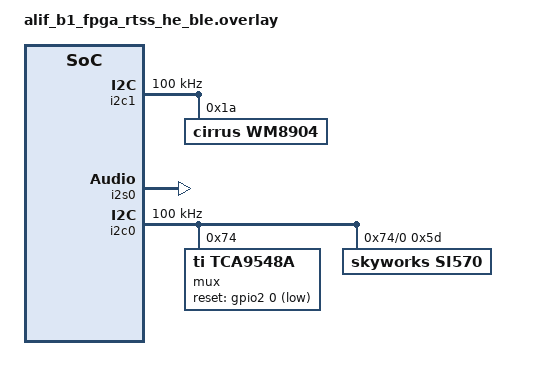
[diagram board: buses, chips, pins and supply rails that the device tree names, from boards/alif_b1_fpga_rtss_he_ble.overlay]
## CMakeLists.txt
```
# Copyright (C) 2025 Alif Semiconductor - All Rights Reserved.
# Use, distribution and modification of this code is permitted under the
# terms stated in the Alif Semiconductor Software License Agreement
#
# You should have received a copy of the Alif Semiconductor Software
# License Agreement with this file. If not, please write to:
# contact@alifsemi.com, or visit: https://alifsemi.com/license

cmake_minimum_required(VERSION 3.20.0)
find_package(Zephyr REQUIRED HINTS $ENV{ZEPHYR_BASE})
project(le_audio_unicast_sink)

target_sources(app PRIVATE
    src/main.c
    src/unicast_sink.c
    src/audio_datapath.c
    src/storage.c
)
```

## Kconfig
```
# Copyright (C) 2025 Alif Semiconductor - All Rights Reserved.
# Use, distribution and modification of this code is permitted under the
# terms stated in the Alif Semiconductor Software License Agreement
#
# You should have received a copy of the Alif Semiconductor Software
# License Agreement with this file. If not, please write to:
# contact@alifsemi.com, or visit: https://alifsemi.com/license

menu "Alif Bluetooth LE Audio Unicast Sink"

config BLE_DEVICE_NAME
	string "BLE device name"
	default "ALIF_CIS_SINK_L" if UNICAST_LOCATION_LEFT
	default "ALIF_CIS_SINK_R" if UNICAST_LOCATION_RIGHT
	default "ALIF_CIS_SINK" if UNICAST_LOCATION_BOTH
	help
	  Device name to be included in advertising packets

config MAXIMUM_PRESENTATION_DELAY_US
	int "Maximum available presentation delay in microseconds"
	range 40000 100000
	default 40000
	help
	  Maximum presentation delay must be at least 40ms.
	  There is no actual maximum value but 100ms is
	  used to set something which is long enough.
	  See LE Audio specification for more information.

config MINIMUM_PRESENTATION_DELAY_US
	int "Minimum available presentation delay in microseconds"
	range 1000 20000
	default 7500
	help
	  Minimum presentation delay to compensate for
	  the audio processing delay.

config USE_DIRECT_ADVERTISING_WHEN_RESTART
	bool "Use direct advertising when connection is lost or peer is bonded"
	default y

config USE_DIRECTED_FAST_ADVERTISING
	bool "Directed high duty cycle advertising"
	default n
	help
	  Use directed high duty cycle advertising when
	  connection is lost or peer is bonded

config BONDING_ALLOWED
	bool "Allow bonding"
	default y

config PRIVACY_ENABLED
	bool "Enable Privacy to use Random Private Resolvable Address"
	default n

choice
	prompt "Choose streaming type"
	default UNICAST_UNIDIR

	config UNICAST_BIDIR
	bool "Bidirectional"
	config UNICAST_UNIDIR
	bool "Unidirectional"
endchoice

choice
	prompt "Choose location"
	default UNICAST_LOCATION_BOTH if UNICAST_UNIDIR
	default UNICAST_LOCATION_LEFT if UNICAST_BIDIR

	config UNICAST_LOCATION_LEFT
	bool "Left"
	config UNICAST_LOCATION_RIGHT
	bool "Right"
	config UNICAST_LOCATION_BOTH
	bool "Both"
endchoice

config VOLUME_CTRL_STEP_SIZE
	int "Volume control step size"
	range 1 255
	default 6
	help
	  Volume control step size

menu "Logging"

module = MAIN
module-str = main
source "subsys/logging/Kconfig.template.log_config"

module = UNICAST_SINK
module-str = unicast_sink
source "subsys/logging/Kconfig.template.log_config"

module = STORAGE
module-str = storage
source "subsys/logging/Kconfig.template.log_config"

endmenu # "Logging"

endmenu # "Alif Bluetooth LE Audio Unicast Sink"

source "Kconfig.zephyr"
```

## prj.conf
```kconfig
# Copyright (C) 2025 Alif Semiconductor - All Rights Reserved.
# Use, distribution and modification of this code is permitted under the
# terms stated in the Alif Semiconductor Software License Agreement
#
# You should have received a copy of the Alif Semiconductor Software
# License Agreement with this file. If not, please write to:
# contact@alifsemi.com, or visit: https://alifsemi.com/license

CONFIG_BT=y
CONFIG_BT_CUSTOM=y
CONFIG_ALIF_ROM_LC3_CODEC=y
CONFIG_ALIF_BLE_AUDIO=y

CONFIG_LOG=y
# CONFIG_LOG_MODE_IMMEDIATE=y
CONFIG_ASSERT=y

CONFIG_PRESENTATION_COMPENSATION_DIRECTION_SINK=y
CONFIG_PRESENTATION_COMPENSATION_CORRECTION_FACTOR=2
CONFIG_MINIMUM_PRESENTATION_DELAY_US=1000

# Should be replaced by TRNG when support is available
CONFIG_ENTROPY_GENERATOR=y
CONFIG_TEST_RANDOM_GENERATOR=y

# malloc support is required, simplest way is using newlib although it would also be possible to
# configure heap for picolibc
CONFIG_NEWLIB_LIBC=y

# Driver support for audio
CONFIG_I2S=y
CONFIG_DMA=y

# Audio driver support specific to B1 DK board.
# Audio codec is WM8904, connected via I2C.
CONFIG_I2C=y
CONFIG_WM8904=y
CONFIG_AUDIO=y
CONFIG_AUDIO_CODEC=y
CONFIG_I2C_INIT_PRIORITY=50
CONFIG_WM8904_INIT_PRIORITY=53

# This is specific to whichever clock you use. Currently presentation layer is
# commented out so this does nothing
CONFIG_AUDIO_CLOCK_DIVIDER=1

# Debug
CONFIG_USE_SEGGER_RTT=y
CONFIG_RTT_CONSOLE=y

CONFIG_MAIN_STACK_SIZE=4096
CONFIG_ISR_STACK_SIZE=4096
CONFIG_PRIVILEGED_STACK_SIZE=2048
CONFIG_IDLE_STACK_SIZE=1024
CONFIG_BOOT_BANNER=n
CONFIG_ALIF_BLE_HOST_ADDL_PRF_HEAPSIZE=10240
CONFIG_ALIF_BLE_HOST_ADDL_ENV_HEAPSIZE=8192

# Enable NVS as the backend for Settings
CONFIG_NVS=y
# Enable the Settings subsystem
CONFIG_SETTINGS=y
CONFIG_SETTINGS_NVS=y
CONFIG_SETTINGS_RUNTIME=y
CONFIG_MPU_ALLOW_FLASH_WRITE=y
CONFIG_FLASH=y
CONFIG_FLASH_MAP=y

# For MRAM(XIP) builds with LLVM exception tables cause linker errors as part of the code is placed to TCM
CONFIG_EXCEPTIONS=n
```

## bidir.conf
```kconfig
# Copyright (C) 2025 Alif Semiconductor - All Rights Reserved.
# Use, distribution and modification of this code is permitted under the
# terms stated in the Alif Semiconductor Software License Agreement
#
# You should have received a copy of the Alif Semiconductor Software
# License Agreement with this file. If not, please write to:
# contact@alifsemi.com, or visit: https://alifsemi.com/license

CONFIG_UNICAST_BIDIR=y
```

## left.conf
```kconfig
# Copyright (C) 2025 Alif Semiconductor - All Rights Reserved.
# Use, distribution and modification of this code is permitted under the
# terms stated in the Alif Semiconductor Software License Agreement
#
# You should have received a copy of the Alif Semiconductor Software
# License Agreement with this file. If not, please write to:
# contact@alifsemi.com, or visit: https://alifsemi.com/license

CONFIG_UNICAST_BIDIR=y
CONFIG_UNICAST_LOCATION_LEFT=y
```

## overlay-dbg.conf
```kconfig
# Copyright (C) 2025 Alif Semiconductor - All Rights Reserved.
# Use, distribution and modification of this code is permitted under the
# terms stated in the Alif Semiconductor Software License Agreement
#
# You should have received a copy of the Alif Semiconductor Software
# License Agreement with this file. If not, please write to:
# contact@alifsemi.com, or visit: https://alifsemi.com/license

# CONFIG_LOG_MODE_IMMEDIATE=y

# ===============================================
# threads debug
CONFIG_THREAD_NAME=y
CONFIG_THREAD_ANALYZER=y
CONFIG_THREAD_ANALYZER_USE_PRINTK=y
CONFIG_THREAD_ANALYZER_AUTO=y
CONFIG_THREAD_ANALYZER_AUTO_INTERVAL=5

# ===============================================
# Adjust logging levels
CONFIG_MAIN_LOG_LEVEL_DBG=y
CONFIG_UNICAST_SINK_LOG_LEVEL_DBG=y
CONFIG_BLE_AUDIO_LOG_LEVEL_DBG=y
CONFIG_PRESENTATION_COMPENSATION_PRINT_STATS=y
```

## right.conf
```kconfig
# Copyright (C) 2025 Alif Semiconductor - All Rights Reserved.
# Use, distribution and modification of this code is permitted under the
# terms stated in the Alif Semiconductor Software License Agreement
#
# You should have received a copy of the Alif Semiconductor Software
# License Agreement with this file. If not, please write to:
# contact@alifsemi.com, or visit: https://alifsemi.com/license

CONFIG_UNICAST_BIDIR=y
CONFIG_UNICAST_LOCATION_RIGHT=y
```

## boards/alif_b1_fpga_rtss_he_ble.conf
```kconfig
# Copyright (C) 2023 Alif Semiconductor - All Rights Reserved.
# Use, distribution and modification of this code is permitted under the
# terms stated in the Alif Semiconductor Software License Agreement
#
# You should have received a copy of the Alif Semiconductor Software
# License Agreement with this file. If not, please write to:
# contact@alifsemi.com, or visit: https://alifsemi.com/license

# Audio clock is provided by SI570, connected via I2C using TCA9548 I2C mux.
CONFIG_SI570=y

CONFIG_I2C_TCA954X_ROOT_INIT_PRIO=51
CONFIG_I2C_TCA954X_CHANNEL_INIT_PRIO=52

# SI570 clock output is passed through a fixed /8 divider to create MCLK signal
CONFIG_AUDIO_CLOCK_DIVIDER=8
```

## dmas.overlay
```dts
/* Copyright (C) 2025 Alif Semiconductor - All Rights Reserved.
 * Use, distribution and modification of this code is permitted under the
 * terms stated in the Alif Semiconductor Software License Agreement
 *
 * You should have received a copy of the Alif Semiconductor Software
 * License Agreement with this file. If not, please write to:
 * contact@alifsemi.com, or visit: https://alifsemi.com/license
 *
 */

#define HCI_UART_DMA_RX_CH  0
#define HCI_UART_DMA_RX_REQ 26
#define HCI_UART_DMA_TX_CH  1
#define HCI_UART_DMA_TX_REQ 27

#define I2S0_DMA_RX_CH  2
#define I2S0_DMA_RX_REQ 24
#define I2S0_DMA_TX_CH  3
#define I2S0_DMA_TX_REQ 28

#define LPI2S_DMA_RX_CH  4
#define LPI2S_DMA_RX_REQ 14
#define LPI2S_DMA_TX_CH  5
#define LPI2S_DMA_TX_REQ 15

&dma2 {
	dma-channels = <8>;
	interrupts = <0 3>, <1 3>, <2 3>, <3 3>, <4 3>, <5 3>,
		     <6 3>, <7 3>, <32 3>;
	interrupt-names = "channel0", "channel1",
			  "channel2", "channel3",
			  "channel4", "channel5",
			  "channel6", "channel7",
			  "abort";

};

&i2s0 {
	dmas = <&dma2 I2S0_DMA_RX_CH I2S0_DMA_RX_REQ>,
	       <&dma2 I2S0_DMA_TX_CH I2S0_DMA_TX_REQ>;
	dma-names = "rxdma", "txdma";
};

&i2s2 {
	dmas = <&dma2 LPI2S_DMA_RX_CH LPI2S_DMA_RX_REQ>,
	       <&dma2 LPI2S_DMA_TX_CH LPI2S_DMA_TX_REQ>;
	dma-names = "rxdma", "txdma";
};

&uart_hci {
	dmas = <&dma2 HCI_UART_DMA_RX_CH HCI_UART_DMA_RX_REQ>,
	       <&dma2 HCI_UART_DMA_TX_CH HCI_UART_DMA_TX_REQ>;
	dma-names = "rx", "tx";
};
```

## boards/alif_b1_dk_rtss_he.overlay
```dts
/* Copyright (C) 2025 Alif Semiconductor - All Rights Reserved.
 * Use, distribution and modification of this code is permitted under the
 * terms stated in the Alif Semiconductor Software License Agreement
 *
 * You should have received a copy of the Alif Semiconductor Software
 * License Agreement with this file. If not, please write to:
 * contact@alifsemi.com, or visit: https://alifsemi.com/license
 *
 */

#include <dt-bindings/pinctrl/balletto-pinctrl.h>
#include <dt-bindings/i2c/i2c.h>
#include <dt-bindings/gpio/gpio.h>

#define I2S0_IRQ_NUM  141
#define I2S0_IRQ_PRIO 3

#define LPI2S_IRQ_NUM  48
#define LPI2S_IRQ_PRIO 3

/ {
	aliases {
		/delete-property/ sw0;

		audio-codec = &wm8904;
		i2s-bus = &i2s0;
		i2s-mic = &i2s2;
	};

	/delete-node/ buttons;
};

&dma2 {
	status = "okay";
};

&i2c1 {
	clock-frequency = <I2C_BITRATE_STANDARD>;
	status = "okay";

	wm8904: wm8904@1a {
		compatible = "cirrus,wm8904";
		reg = <0x1a>;
		status = "okay";
	};
};

/* Sink (output) to WM8904 codec IC */
&i2s0 {
	/delete-property/ clock-frequency;
	/delete-property/ driver_instance;
	compatible = "alif,i2s-sync";
	interrupts = <I2S0_IRQ_NUM I2S0_IRQ_PRIO>;
	bit-depth = <16>;
	sample-rate = <48000>;
	status = "okay";
};

/* Source (input) use onboard I2S microphones (T5848) */
&i2s2 {
	/delete-property/ clock-frequency;
	/delete-property/ driver_instance;
	compatible = "alif,i2s-sync";
	interrupts = <LPI2S_IRQ_NUM LPI2S_IRQ_PRIO>;
	bit-depth = <16>;
	sample-rate = <48000>;
	status = "okay";
};

&pinctrl_i2c1 {
	group0 {
		pinmux = <PIN_P7_2__I2C1_SDA_C>,
			 <PIN_P7_3__I2C1_SCL_C>;
	};
};

&pinctrl_i2s0 {
	group0 {
		pinmux = <PIN_P2_4__I2S0_SDI_B>,
			 <PIN_P2_5__I2S0_SDO_B>,
			 <PIN_P1_7__I2S0_WS_A>,
			 <PIN_P1_6__I2S0_SCLK_A>;
	};
};

/* Disable unnecessary nodes */
&uart_ahi {
	status = "disabled";
};

&i2s1 {
	status = "disabled";
};
```

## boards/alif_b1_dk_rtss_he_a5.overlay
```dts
/* Copyright Alif Semiconductor - All Rights Reserved.
 * Use, distribution and modification of this code is permitted under the
 * terms stated in the Alif Semiconductor Software License Agreement
 *
 * You should have received a copy of the Alif Semiconductor Software
 * License Agreement with this file. If not, please write to:
 * contact@alifsemi.com, or visit: https://alifsemi.com/license
 *
 */

#include <dt-bindings/pinctrl/balletto-pinctrl.h>
#include <dt-bindings/i2c/i2c.h>
#include <dt-bindings/gpio/gpio.h>

#define I2S0_IRQ_NUM  141
#define I2S0_IRQ_PRIO 3

#define LPI2S_IRQ_NUM  48
#define LPI2S_IRQ_PRIO 3

/ {
	aliases {
		/delete-property/ sw0;

		audio-codec = &wm8904;
		i2s-bus = &i2s0;
		/*i2s-mic = &i2s2;*/
	};

	/delete-node/ buttons;
};

&dma2 {
	status = "okay";
};

&i2c1 {
	clock-frequency = <I2C_BITRATE_STANDARD>;
	status = "okay";

	wm8904: wm8904@1a {
		compatible = "cirrus,wm8904";
		reg = <0x1a>;
		status = "okay";
	};
};

/* Sink (output) to WM8904 codec IC */
&i2s0 {
	/delete-property/ clock-frequency;
	/delete-property/ driver_instance;
	compatible = "alif,i2s-sync";
	interrupts = <I2S0_IRQ_NUM I2S0_IRQ_PRIO>;
	bit-depth = <16>;
	sample-rate = <48000>;
	status = "okay";
};

/* Source (input) use onboard I2S microphones (T5848)
 *
 * Balletto A5 DevKit does not have I2S mics anymore.
 * TODO: Need to be replaced by the PDM mics.
 */

&pinctrl_i2c1 {
	group0 {
		pinmux = <PIN_P7_2__I2C1_SDA_C>,
			 <PIN_P7_3__I2C1_SCL_C>;
	};
};

&pinctrl_i2s0 {
	group0 {
		pinmux = <PIN_P2_4__I2S0_SDI_B>,
			 <PIN_P2_5__I2S0_SDO_B>,
			 <PIN_P1_7__I2S0_WS_A>,
			 <PIN_P1_6__I2S0_SCLK_A>;
	};
};

/* Disable unnecessary nodes */
&uart_ahi {
	status = "disabled";
};

&i2s1 {
	status = "disabled";
};
```

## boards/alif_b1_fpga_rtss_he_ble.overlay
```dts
/* Copyright (C) 2023 Alif Semiconductor - All Rights Reserved.
 * Use, distribution and modification of this code is permitted under the
 * terms stated in the Alif Semiconductor Software License Agreement
 *
 * You should have received a copy of the Alif Semiconductor Software
 * License Agreement with this file. If not, please write to:
 * contact@alifsemi.com, or visit: https: //alifsemi.com/license
 *
 */

#include <dt-bindings/pinctrl/balletto-pinctrl.h>
#include <dt-bindings/i2c/i2c.h>
#include <dt-bindings/gpio/gpio.h>

/ {
	aliases {
		audio-codec = &wm8904;
		i2s-bus = &i2s0;
		mclk-gen = &si570;
	};

	soc {
		i2c1: i2c1@49011000 {
			compatible = "snps,designware-i2c";
			clock-frequency = <I2C_BITRATE_STANDARD>;
			#address-cells = <1>;
			#size-cells = <0>;
			reg = <0x49011000 0x1000>;
			pinctrl-0 = <&pinctrl_i2c1>;
			pinctrl-names = "default";
			interrupt-parent = <&nvic>;
			interrupts = <133 3>;
			status = "okay";

			wm8904: wm8904@1a {
				compatible = "cirrus,wm8904";
				reg = <0x1a>;
				status = "okay";
			};
		};

		i2s0: i2s0@49014000 {
			compatible = "alif,i2s-sync";
			reg = <0x49014000 0x1000>;
			pinctrl-names = "default";
			pinctrl-0 = <&pinctrl_i2s0>;
			interrupts = <141 3>;
			bit-depth = <16>;
			sample-rate = <48000>;
			mono-mode;
			status = "okay";
		};

		i2c0: i2c0@49010000 {
			compatible = "snps,designware-i2c";
			clock-frequency = <I2C_BITRATE_STANDARD>;
			#address-cells = <1>;
			#size-cells = <0>;
			reg = <0x49010000 0x1000>;
			pinctrl-0 = <&pinctrl_i2c0>;
			pinctrl-names = "default";
			interrupt-parent = <&nvic>;
			interrupts = <132 3>;
			status = "okay";

			mux: tca9548a@74 {
				compatible = "ti,tca9548a";
				reg = <0x74>;
				status = "okay";
				#address-cells = <1>;
				#size-cells = <0>;
				reset-gpios = <&gpio2 0 GPIO_ACTIVE_LOW>;

				ch0: mux_i2c@0 {
					compatible = "ti,tca9548a-channel";
					reg = <0>;
					status = "okay";
					#address-cells = <1>;
					#size-cells = <0>;

					si570: si570@5d {
						compatible = "skyworks,si570";
						reg = <0x5d>;
						factory-fout = <156250000>;
						initial-freq = <12288000>;
					};
				};
			};
		};
	};
};

&pinctrl {
	pinctrl_i2c1: pinctrl_i2c1 {
		group0 {
			/* Note: defined pinmux names are wrong so just setting numbers directly */
			pinmux = <PINMUX_PIN(PIN_P2_6, 3)>, /* I2C1 SCL */
				<PINMUX_PIN(PIN_P2_7, 3)>; /* I2C1 SDA */
			read_enable = <0x1>;
		};
	};

	pinctrl_i2s0: pinctrl_i2s0 {
		group0 {
			/* Note: defined pinmux names are wrong so just setting numbers directly */
			pinmux = <PINMUX_PIN(PIN_P1_4, 2)>, /* I2S0 SDI A  */
				<PINMUX_PIN(PIN_P1_5, 2)>, /* I2S0 SDO A  */
				<PINMUX_PIN(PIN_P1_7, 3)>, /* I2S0 WS A   */
				<PINMUX_PIN(PIN_P1_6, 3)>; /* I2S0 SCLK A */
		};
	};

	pinctrl_i2c0: pinctrl_i2c0 {
		group0 {
			pinmux = <PIN_P2_4__I2C0_SCL_B>,
				<PIN_P2_5__I2C0_SDA_B>;
			read_enable = <0x1>;
		};
	};
};
```

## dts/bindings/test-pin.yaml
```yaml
# Copyright (c) 2023 Libre Solar Technologies GmbH
# SPDX-License-Identifier: Apache-2.0

description: GPIO pin to switch a power output on or off

compatible: "test-pin"

properties:
  gpios:
    type: phandle-array
    required: true
    description: |
      The GPIO connected to the gate driver for the MOSFET.
```

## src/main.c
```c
/* Copyright (C) 2025 Alif Semiconductor - All Rights Reserved.
 * Use, distribution and modification of this code is permitted under the
 * terms stated in the Alif Semiconductor Software License Agreement
 *
 * You should have received a copy of the Alif Semiconductor Software
 * License Agreement with this file. If not, please write to:
 * contact@alifsemi.com, or visit: https://alifsemi.com/license
 */
#include <stdio.h>
#include <zephyr/kernel.h>
#include <zephyr/logging/log.h>
#include <zephyr/settings/settings.h>
#include <zephyr/sys/__assert.h>
#include "alif_ble.h"
#include "gapm.h"
#include "gapm_le.h"
#include "gapc.h"
#include "gapc_le.h"
#include "gapc_sec.h"
#include "unicast_sink.h"
#include "storage.h"

#define APPEARANCE_EARBUDS 0x0941
#define APPEARANCE_HEADSET 0x0942

#if CONFIG_UNICAST_BIDIR
#define APPEARANCE APPEARANCE_HEADSET
#else
#define APPEARANCE APPEARANCE_EARBUDS
#endif

#if CONFIG_UNICAST_LOCATION_BOTH
#define IRK_VAL 0x8B
#elif CONFIG_UNICAST_LOCATION_LEFT
#define IRK_VAL 0x8A
#elif CONFIG_UNICAST_LOCATION_RIGHT
#define IRK_VAL 0x89
#else
#define IRK_VAL 0x88
#endif

LOG_MODULE_REGISTER(main, CONFIG_MAIN_LOG_LEVEL);

K_SEM_DEFINE(gapm_init_sem, 0, 1);

struct connection_status {
#if CONFIG_USE_DIRECT_ADVERTISING_WHEN_RESTART
	gap_bdaddr_t addr; /*!< Peer device address */
#endif
	uint8_t conidx; /*!< connection index */
};

static struct connection_status app_con_info = {
	.conidx = GAP_INVALID_CONIDX,
#if CONFIG_USE_DIRECT_ADVERTISING_WHEN_RESTART
	.addr.addr_type = 0xff,
#endif
};

#if CONFIG_USE_DIRECT_ADVERTISING_WHEN_RESTART
#define APP_CON_ADDR &app_con_info.addr
#else
#define APP_CON_ADDR NULL
#endif

struct app_con_bond_data {
	gapc_pairing_keys_t keys;
	gapc_bond_data_t bond_data;
};

static struct app_con_bond_data app_con_bond_data;

/* Load names from configuration file */
const char device_name[] = CONFIG_BLE_DEVICE_NAME;

static const gap_sec_key_t gapm_irk = {.key = {0xA1, 0xB2, 0xC3, 0xD4, 0xE5, 0xF6, 0x07, 0x08, 0x11,
					       0x22, 0x33, 0x44, 0x55, 0x66, 0x77, IRK_VAL}};

/* ---------------------------------------------------------------------------------------- */
/* Settings NVM storage handlers */

static int storage_load_bond_data(void)
{
	if (storage_init() < 0) {
		return -1;
	}

	storage_load(SETTINGS_NAME_KEYS, &app_con_bond_data.keys, sizeof(app_con_bond_data.keys));
	storage_load(SETTINGS_NAME_BOND_DATA, &app_con_bond_data.bond_data,
		     sizeof(app_con_bond_data.bond_data));
#if CONFIG_USE_DIRECT_ADVERTISING_WHEN_RESTART
	storage_load(SETTINGS_NAME_PEER, &app_con_info.addr, sizeof(app_con_info.addr));
#endif

	LOG_DBG("Settings loaded successfully");
	return 0;
}

/* ---------------------------------------------------------------------------------------- */
/* Bluetooth GAPM callbacks */

static void on_get_peer_version_cmp_cb(uint8_t const conidx, uint32_t const metainfo,
				       uint16_t const status, const gapc_version_t *const p_version)
{
	if (status != GAP_ERR_NO_ERROR) {
		LOG_ERR("Client %u Peer version fetch failed! err:%u", conidx, status);
		return;
	}
	LOG_INF("Client %u company_id:%u, lmp_subversion:%u, lmp_version:%u", conidx,
		p_version->company_id, p_version->lmp_subversion, p_version->lmp_version);
}

static void on_peer_features_cmp_cb(uint8_t const conidx, uint32_t const metainfo, uint16_t status,
				    const uint8_t *const p_features)
{
	if (status == GAP_ERR_NO_ERROR) {
		LOG_INF("Client %u features: %02X:%02X:%02X:%02X:%02X:%02X:%02X:%02X", conidx,
			p_features[0], p_features[1], p_features[2], p_features[3], p_features[4],
			p_features[5], p_features[6], p_features[7]);
	} else {
		LOG_ERR("Client %u get peer features failed! status:%u", conidx, status);
	}

	status = gapc_get_peer_version(conidx, 0, on_get_peer_version_cmp_cb);
	if (status != GAP_ERR_NO_ERROR) {
		LOG_ERR("Client %u unable to get peer version! err:%u", conidx, status);
	}
}

static void connection_confirm_not_bonded(uint_fast8_t const conidx,
					  gapc_bond_data_t const *const p_bond_data)
{
	uint_fast16_t status;

	status = gapc_le_connection_cfm(conidx, 0, p_bond_data);
	if (status != GAP_ERR_NO_ERROR) {
		LOG_ERR("Client %u connection confirmation failed! err:%u", conidx, status);
	}
	status = gapc_le_get_peer_features(conidx, 0, on_peer_features_cmp_cb);
	if (status != GAP_ERR_NO_ERROR) {
		LOG_ERR("Client %u Unable to get peer features! err:%u", conidx, status);
	}
}

static void on_address_resolved_cb(uint16_t status, const gap_addr_t *const p_addr,
				   const gap_sec_key_t *const pirk)
{
	uint_fast8_t const conidx = app_con_info.conidx;
	/* Check whether the peer device is bonded */
	bool const resolved = (status == GAP_ERR_NO_ERROR);

	LOG_INF("Client %u address resolve ready! status:%u, %s peer device", conidx, status,
		resolved ? "KNOWN" : "UNKNOWN");

#if CONFIG_USE_DIRECT_ADVERTISING_WHEN_RESTART
	app_con_info.addr.addr_type = GAP_ADDR_RAND;
	memcpy(app_con_info.addr.addr, p_addr->addr, sizeof(app_con_info.addr.addr));
#endif

	if (resolved) {
		gapc_le_connection_cfm(conidx, 0, &app_con_bond_data.bond_data);
		return;
	}
	connection_confirm_not_bonded(conidx, NULL);
}

static void on_le_connection_req(uint8_t const conidx, uint32_t const metainfo,
				 uint8_t const actv_idx, uint8_t const role,
				 const gap_bdaddr_t *const p_peer_addr,
				 const gapc_le_con_param_t *const p_con_params,
				 uint8_t const clk_accuracy)
{
	bool const public = (p_peer_addr->addr_type == GAP_ADDR_PUBLIC);

	app_con_info.conidx = conidx;
#if CONFIG_USE_DIRECT_ADVERTISING_WHEN_RESTART
	memcpy(&app_con_info.addr, p_peer_addr, sizeof(app_con_info.addr));
#endif

	if (!public) {
		/* Number of IRKs */
		uint8_t const nb_irk = 1;
		/* Resolve Address */
		uint16_t const status = gapm_le_resolve_address(
			(gap_addr_t *)p_peer_addr->addr, nb_irk, &app_con_bond_data.keys.irk.key,
			on_address_resolved_cb);

		if (status == GAP_ERR_INVALID_PARAM) {
			/* Address not resolvable, just confirm the connection */
			connection_confirm_not_bonded(conidx, NULL);
		} else if (status != GAP_ERR_NO_ERROR) {
			LOG_ERR("Client %u Unable to start resolve address! err:%u", conidx,
				status);
		}
	} else {
		gapc_le_connection_cfm(conidx, 0, &app_con_bond_data.bond_data);
	}

	LOG_INF("Connection request. conidx:%u (actv_idx:%u), role %s", conidx, actv_idx,
		role ? "PERIPH" : "CENTRAL");

	LOG_DBG("  interval %fms, latency %u, supervision timeout %ums, clk_accuracy:%u",
		(p_con_params->interval * 1.25), p_con_params->latency,
		(uint32_t)p_con_params->sup_to * 10, clk_accuracy);

	LOG_DBG("  Peer address: %s %02X:%02X:%02X:%02X:%02X:%02X", public ? "Public" : "Private",
		p_peer_addr->addr[5], p_peer_addr->addr[4], p_peer_addr->addr[3],
		p_peer_addr->addr[2], p_peer_addr->addr[1], p_peer_addr->addr[0]);
}

static const struct gapc_connection_req_cb gapc_con_cbs = {
	.le_connection_req = on_le_connection_req,
};

static void on_gapc_le_encrypt_req(uint8_t const conidx, uint32_t const metainfo,
				   uint16_t const ediv, const gap_le_random_nb_t *const p_rand)
{
	uint16_t const status = gapc_le_encrypt_req_reply(
		conidx, true, &app_con_bond_data.keys.ltk.key, app_con_bond_data.keys.ltk.key_size);

	if (status != GAP_ERR_NO_ERROR) {
		LOG_ERR("Client %u LE encryption reply failed! err:%u", conidx, status);
		return;
	}
}

static void on_gapc_sec_auth_info(uint8_t const conidx, uint32_t const metainfo,
				  uint8_t const sec_lvl, bool const encrypted,
				  uint8_t const key_size)
{
	LOG_INF("Client %u Link security info. level:%u, encrypted:%s, key_size:%u", conidx,
		sec_lvl, (encrypted ? "TRUE" : "FALSE"), key_size);
}

static void on_gapc_pairing_succeed(uint8_t const conidx, uint32_t const metainfo,
				    uint8_t const pairing_level, bool const enc_key_present,
				    uint8_t const key_type)
{
	bool const bonded = gapc_is_bonded(conidx);

	LOG_INF("Client %u pairing SUCCEED. pairing_level:%u, bonded:%s", conidx, pairing_level,
		bonded ? "TRUE" : "FALSE");

	app_con_bond_data.bond_data.pairing_lvl = pairing_level;
	app_con_bond_data.bond_data.enc_key_present = enc_key_present;

	storage_save(SETTINGS_NAME_BOND_DATA, &app_con_bond_data.bond_data,
		     sizeof(app_con_bond_data.bond_data));
#if CONFIG_USE_DIRECT_ADVERTISING_WHEN_RESTART
	storage_save(SETTINGS_NAME_PEER, &app_con_info.addr, sizeof(app_con_info.addr));
#endif
}

static void on_gapc_pairing_failed(uint8_t const conidx, uint32_t const metainfo,
				   uint16_t const reason)
{
	LOG_ERR("Client %u pairing failed, reason: 0x%04X", conidx, reason);
	app_con_info.conidx = GAP_INVALID_CONIDX;
}

static void on_gapc_info_req(uint8_t const conidx, uint32_t const metainfo, uint8_t const exp_info)
{
	uint16_t err;

	switch (exp_info) {
	case GAPC_INFO_IRK: {
		/* IRK exchange if bonding enabled */
		err = gapc_le_pairing_provide_irk(conidx, &gapm_irk);
		if (err) {
			LOG_ERR("Client %u IRK provide failed. err: %u", conidx, err);
			break;
		}
		LOG_INF("Client %u IRK sent successful", conidx);
		break;
	}
	case GAPC_INFO_CSRK: {
		/* CSRK exchange if bonding enabled */
		err = gapc_pairing_provide_csrk(conidx, &app_con_bond_data.bond_data.local_csrk);
		if (err) {
			LOG_ERR("Client %u CSRK provide failed. err: %u", conidx, err);
			break;
		}
		LOG_INF("Client %u CSRK sent successful", conidx);
		break;
	}
	case GAPC_INFO_BT_PASSKEY:
	case GAPC_INFO_PASSKEY_DISPLAYED: {
		err = gapc_pairing_provide_passkey(conidx, true, 123456);
		if (err) {
			LOG_ERR("Client %u PASSKEY provide failed. err: %u", conidx, err);
			break;
		}
		LOG_INF("Client %u PASSKEY 123456 provided", conidx);
		break;
	}
	default:
		LOG_WRN("Client %u Unsupported info %u requested!", conidx, exp_info);
		break;
	}
}

static void on_gapc_pairing_req(uint8_t const conidx, uint32_t const metainfo,
				uint8_t const auth_level)
{
	LOG_DBG("Client %u pairing requested. auth_level:%u", conidx, auth_level);

	gapc_pairing_t pairing_info = {
		.auth = GAP_AUTH_REQ_NO_MITM_NO_BOND,
		.iocap = GAP_IO_CAP_NO_INPUT_NO_OUTPUT,
		.ikey_dist = GAP_KDIST_ENCKEY | GAP_KDIST_IDKEY,
		.key_size = GAP_KEY_LEN,
		.oob = GAP_OOB_AUTH_DATA_NOT_PRESENT,
		.rkey_dist = GAP_KDIST_ENCKEY | GAP_KDIST_IDKEY,
	};

	if (IS_ENABLED(CONFIG_BONDING_ALLOWED) && (auth_level & GAP_AUTH_BOND)) {
		pairing_info.auth = GAP_AUTH_REQ_SEC_CON_BOND;
		pairing_info.iocap = GAP_IO_CAP_DISPLAY_ONLY;
	} else if (auth_level & GAP_AUTH_SEC_CON) {
		pairing_info.auth = GAP_AUTH_SEC_CON;
	}

	uint16_t const status = gapc_le_pairing_accept(conidx, true, &pairing_info, 0);

	if (status != GAP_ERR_NO_ERROR) {
		LOG_ERR("Pairing accept failed! error: %u", status);
	}
}

static void on_gapc_sec_numeric_compare_req(uint8_t const conidx, uint32_t const metainfo,
					    uint32_t const value)
{
	LOG_DBG("Client %u pairing - numeric compare. value:%u", conidx, value);
	gapc_pairing_numeric_compare_rsp(conidx, true);
}

static void on_key_received(uint8_t conidx, uint32_t metainfo, const gapc_pairing_keys_t *p_keys)
{
	LOG_DBG("Client %u keys received: key_bf:%u, level:%u", conidx, p_keys->valid_key_bf,
		p_keys->pairing_lvl);

	gapc_pairing_keys_t *const p_appkeys = &app_con_bond_data.keys;
	uint8_t key_bits = GAP_KDIST_NONE;

	if (p_keys->valid_key_bf & GAP_KDIST_ENCKEY) {
		memcpy(&p_appkeys->ltk, &p_keys->ltk, sizeof(p_appkeys->ltk));
		key_bits |= GAP_KDIST_ENCKEY;
	}

	if (p_keys->valid_key_bf & GAP_KDIST_IDKEY) {
		memcpy(&p_appkeys->irk, &p_keys->irk, sizeof(p_appkeys->irk));
		key_bits |= GAP_KDIST_IDKEY;
	}

	if (p_keys->valid_key_bf & GAP_KDIST_SIGNKEY) {
		memcpy(&p_appkeys->csrk, &p_keys->csrk, sizeof(p_appkeys->csrk));
		key_bits |= GAP_KDIST_SIGNKEY;
	}

	p_appkeys->pairing_lvl = p_keys->pairing_lvl;
	p_appkeys->valid_key_bf = key_bits;

	storage_save(SETTINGS_NAME_KEYS, &app_con_bond_data.keys, sizeof(app_con_bond_data.keys));
}

static const gapc_security_cb_t gapc_sec_cbs = {
	.le_encrypt_req = on_gapc_le_encrypt_req,
	.auth_info = on_gapc_sec_auth_info,
	.pairing_succeed = on_gapc_pairing_succeed,
	.pairing_failed = on_gapc_pairing_failed,
	.info_req = on_gapc_info_req,
	.pairing_req = on_gapc_pairing_req,
	.numeric_compare_req = on_gapc_sec_numeric_compare_req,
	.key_received = on_key_received,
	/* Others are useless for LE peripheral device */
};

static void on_disconnection(uint8_t const conidx, uint32_t const metainfo, uint16_t const reason)
{
	LOG_INF("Client %u disconnected for reason %u", conidx, reason);

	app_con_info.conidx = GAP_INVALID_CONIDX;
	/* Restart advertising... */
	unicast_sink_adv_start(APP_CON_ADDR);
}

static void on_bond_data_updated(uint8_t const conidx, uint32_t const metainfo,
				 const gapc_bond_data_updated_t *const p_data)
{
	LOG_INF("Client %u bond data updated: gatt_start_hdl:%u, gatt_end_hdl:%u, "
		"svc_chg_hdl:%u, cli_info:%u, cli_feat:%u, srv_feat:%u",
		conidx, p_data->gatt_start_hdl, p_data->gatt_end_hdl, p_data->svc_chg_hdl,
		p_data->cli_info, p_data->cli_feat, p_data->srv_feat);
}

static void on_name_get(uint8_t const conidx, uint32_t const metainfo, uint16_t const token,
			uint16_t const offset, uint16_t const max_len)
{
	const size_t device_name_len = sizeof(device_name) - 1;
	const size_t short_len = (device_name_len > max_len ? max_len : device_name_len);

	gapc_le_get_name_cfm(conidx, token, GAP_ERR_NO_ERROR, device_name_len, short_len,
			     (const uint8_t *)device_name);
}

static void on_appearance_get(uint8_t const conidx, uint32_t const metainfo, uint16_t const token)
{
	gapc_le_get_appearance_cfm(conidx, token, GAP_ERR_NO_ERROR, APPEARANCE);
}

static const gapc_connection_info_cb_t gapc_inf_cbs = {
	.disconnected = on_disconnection,
	.bond_data_updated = on_bond_data_updated,
	.name_get = on_name_get,
	.appearance_get = on_appearance_get,
	/* Other callbacks in this struct are optional */
};

static const gapc_le_config_cb_t gapc_le_cfg_cbs = {0};

#if !CONFIG_ALIF_BLE_ROM_IMAGE_V1_0 /* ROM version > 1.0 */
static void on_gapm_err(uint32_t metainfo, uint8_t code)
{
	LOG_ERR("GAPM error %d", code);
}

static const gapm_cb_t gapm_err_cbs = {
	.cb_hw_error = on_gapm_err,
};

#else /* ROM version 1.0 */
static void on_gapm_err(enum co_error err)
{
	LOG_ERR("GAPM error %d", err);
}

static const gapm_err_info_config_cb_t gapm_err_cbs = {
	.ctrl_hw_error = on_gapm_err,
};

#endif

static const gapm_callbacks_t gapm_cbs = {
	.p_con_req_cbs = &gapc_con_cbs,
	.p_sec_cbs = &gapc_sec_cbs,
	.p_info_cbs = &gapc_inf_cbs,
	.p_le_config_cbs = &gapc_le_cfg_cbs,
	.p_bt_config_cbs = NULL,    /* BT classic so not required */
#if !CONFIG_ALIF_BLE_ROM_IMAGE_V1_0 /* ROM version > 1.0 */
	.p_gapm_cbs = &gapm_err_cbs,
#else
	.p_err_info_config_cbs = &gapm_err_cbs,
#endif
};

/* ---------------------------------------------------------------------------------------- */
/* BLE config (GAPM) */

static void on_gapm_process_complete(uint32_t const metainfo, uint16_t const status)
{
	if (status != GAP_ERR_NO_ERROR) {
		LOG_ERR("GAPM process completed with error %u", status);
		return;
	}

	switch (metainfo) {
	case 1:
		LOG_DBG("GAPM configured successfully");
		break;
	case 2:
		LOG_DBG("GAPM name set successfully");
		break;
	case 3:
		LOG_DBG("GAPM reset successfully");
		break;
	default:
		LOG_ERR("GAPM Unknown metadata!");
		return;
	}

	k_sem_give(&gapm_init_sem);
}

static gap_addr_t private_address;

static void on_gapm_le_random_addr_cb(uint16_t const status, const gap_addr_t *const p_addr)
{
	if (status != GAP_ERR_NO_ERROR) {
		LOG_ERR("GAPM address generation error %u", status);
		return;
	}

	LOG_DBG("Generated address: %02X:%02X:%02X:%02X:%02X:%02X", p_addr->addr[5],
		p_addr->addr[4], p_addr->addr[3], p_addr->addr[2], p_addr->addr[1],
		p_addr->addr[0]);

	private_address = *p_addr;

	storage_save(SETTINGS_NAME_ADDR, &private_address, sizeof(private_address));

	k_sem_give(&gapm_init_sem);
}

static int ble_stack_configure(uint8_t const role)
{
	/* Bluetooth stack configuration*/
	gapm_config_t gapm_cfg = {
		.role = role,
		.pairing_mode = GAPM_PAIRING_SEC_CON,
		.privacy_cfg = 0,
		.renew_dur = 15 * 60, /* 15 minutes */
		.private_identity.addr = {0},
		.irk = gapm_irk,
		.gap_start_hdl = 0,
		.gatt_start_hdl = 0,
		.att_cfg = 0,
		.sugg_max_tx_octets = GAP_LE_MAX_OCTETS,
		/* Use the minimum transmission time to minimize latency */
		.sugg_max_tx_time = GAP_LE_MIN_TIME,
		.tx_pref_phy = GAP_PHY_LE_2MBPS,
		.rx_pref_phy = GAP_PHY_LE_2MBPS,
		.tx_path_comp = 0,
		.rx_path_comp = 0,
		/* BT classic - not used */
		.class_of_device = 0x200408,
		.dflt_link_policy = 0,
	};

	int err;

	storage_load(SETTINGS_NAME_ADDR, &private_address, sizeof(private_address));

	if (private_address.addr[5] == 0) {
		/* Configure GAPM to prepare address generation */
		err = gapm_configure(1, &gapm_cfg, &gapm_cbs, on_gapm_process_complete);
		if (err != GAP_ERR_NO_ERROR) {
			LOG_ERR("gapm_configure error %u", err);
			return -1;
		}
		if (k_sem_take(&gapm_init_sem, K_MSEC(1000)) != 0) {
			LOG_ERR("  FAIL! GAPM config timeout!");
			return -1;
		}

		/* Generate random static address */
		err = gapm_le_generate_random_addr(GAP_BD_ADDR_STATIC, on_gapm_le_random_addr_cb);
		if (err != GAP_ERR_NO_ERROR) {
			LOG_ERR("gapm_le_generate_random_addr error %u", err);
			return -1;
		}
		if (k_sem_take(&gapm_init_sem, K_MSEC(1000)) != 0) {
			LOG_ERR("  FAIL! GAPM random address timeout!");
			return -1;
		}

		/* Reset GAPM to set address */
		err = gapm_reset(3, on_gapm_process_complete);
		if (err != GAP_ERR_NO_ERROR) {
			LOG_ERR("gapm_reset error %u", err);
			return -1;
		}
		if (k_sem_take(&gapm_init_sem, K_MSEC(1000)) != 0) {
			LOG_ERR("  FAIL! GAPM reset timeout!");
			return -1;
		}
	}

	/* Reconfigure GAPM with generated address */
	gapm_cfg.privacy_cfg = GAPM_PRIV_CFG_PRIV_ADDR_BIT;
#if CONFIG_PRIVACY_ENABLED
	gapm_cfg.privacy_cfg |= GAPM_PRIV_CFG_PRIV_EN_BIT;
#endif
	gapm_cfg.private_identity = private_address;

	err = gapm_configure(1, &gapm_cfg, &gapm_cbs, on_gapm_process_complete);
	if (err != GAP_ERR_NO_ERROR) {
		LOG_ERR("gapm_configure error %u", err);
		return -1;
	}
	if (k_sem_take(&gapm_init_sem, K_MSEC(1000)) != 0) {
		LOG_ERR("  FAIL! GAPM config timeout!");
		return -1;
	}

	LOG_INF("Set name: %s", device_name);
	err = gapm_set_name(2, strlen(device_name), (const uint8_t *)device_name,
			    on_gapm_process_complete);
	if (err != GAP_ERR_NO_ERROR) {
		LOG_ERR("gapm_set_name error %u", err);
		return -1;
	}
	if (k_sem_take(&gapm_init_sem, K_MSEC(1000)) != 0) {
		LOG_ERR("  FAIL! GAPM name set timeout!");
		return -1;
	}

#if CONFIG_BONDING_ALLOWED
	/* Configure security level */
	gapm_le_configure_security_level(GAP_SEC1_SEC_CON_PAIR_ENC);
	LOG_INF("Security enabled for bonding");
#endif

	gapm_le_set_appearance(APPEARANCE);

	gap_bdaddr_t identity;

	gapm_get_identity(&identity);

	if (identity.addr_type == GAP_ADDR_PUBLIC) {
		LOG_DBG("Device address type: Public");
	} else {
		uint32_t const type = identity.addr[5] >> 6;

		switch (type) {
		case 0b00:
			LOG_DBG("Device address type: Random Private Non-Resolvable Address");
			break;
		case 0b01:
			LOG_DBG("Device address type: Random Private Resolvable Address");
			break;
		case 0b11:
			LOG_DBG("Device address type: Random Static Address format");
			break;
		case 0b10:
		default:
			LOG_WRN("Device address type: unknown");
			break;
		}
	}
	LOG_INF("Device address: %02X:%02X:%02X:%02X:%02X:%02X", identity.addr[5], identity.addr[4],
		identity.addr[3], identity.addr[2], identity.addr[1], identity.addr[0]);

	LOG_DBG("BLE init complete!");

	return 0;
}

/* ---------------------------------------------------------------------------------------- */
/* Application entry point */

int main(void)
{
	LOG_INF("Alif Unicast Acceptor app started");

	if (storage_load_bond_data() < 0) {
		return -1;
	}

	int ret = alif_ble_enable(NULL);

	if (ret) {
		LOG_ERR("Failed to enable bluetooth, err %d", ret);
		return ret;
	}

	LOG_DBG("BLE enabled");

	if (0 != ble_stack_configure(GAP_ROLE_LE_PERIPHERAL)) {
		return -1;
	}

	if (0 != unicast_sink_init()) {
		return -1;
	}

	if (0 != unicast_sink_adv_start(APP_CON_ADDR)) {
		return -1;
	}

	while (1) {
		/* Nothing to do here... just sleep to keep app running */
		k_sleep(K_SECONDS(5));
	}

	return 0;
}
```

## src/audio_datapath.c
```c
/* Copyright (C) 2025 Alif Semiconductor - All Rights Reserved.
 * Use, distribution and modification of this code is permitted under the
 * terms stated in the Alif Semiconductor Software License Agreement
 *
 * You should have received a copy of the Alif Semiconductor Software
 * License Agreement with this file. If not, please write to:
 * contact@alifsemi.com, or visit: https://alifsemi.com/license
 */

#include <zephyr/types.h>
#include <zephyr/device.h>
#include <zephyr/logging/log.h>
#include <zephyr/audio/codec.h>

#include "bluetooth/le_audio/audio_decoder.h"
#include "bluetooth/le_audio/audio_encoder.h"

#include "audio_datapath.h"

#if CONFIG_ALIF_BLE_AUDIO_USE_RAMFUNC
#define INT_RAMFUNC __ramfunc
#else
#define INT_RAMFUNC
#endif

#define I2S_SINK_DEV DEVICE_DT_GET(CODEC_I2S_NODE)

#if DT_NODE_EXISTS(I2S_MIC_NODE)
#define I2S_SOURCE_DEV DEVICE_DT_GET(I2S_MIC_NODE)
#else
#define I2S_SOURCE_DEV I2S_SINK_DEV
#endif

LOG_MODULE_REGISTER(audio_datapath, CONFIG_BLE_AUDIO_LOG_LEVEL);

struct audio_datapath {
	struct audio_encoder *encoder;
	struct audio_decoder *decoder;
};

static struct audio_datapath env;

/* Initialisation to perform pre-main */
static int unicast_audio_path_init(void)
{
	int ret;

	/* Check all devices are ready */
	ret = device_is_ready(DEVICE_DT_GET(CODEC_CFG_NODE));
	if (!ret) {
		LOG_ERR("Audio codec is not ready");
		return -1;
	}

	ret = device_is_ready(I2S_SINK_DEV);
	if (!ret) {
		LOG_ERR("I2S is not ready");
		return -1;
	}

	ret = device_is_ready(I2S_SOURCE_DEV);
	if (!ret) {
		LOG_ERR("I2S mic is not ready");
		return -1;
	}

	/* Stop codec output if started during init */
	audio_codec_stop_output(DEVICE_DT_GET(CODEC_CFG_NODE));

	return 0;
}
SYS_INIT(unicast_audio_path_init, APPLICATION, 0);

#if ENCODER_DEBUG
INT_RAMFUNC static void on_encoder_frame_complete(void *param, uint32_t timestamp, uint16_t sdu_seq)
{
	if ((sdu_seq % 128) == 0) {
		LOG_INF("SDU sequence number: %u", sdu_seq);
	}
}
#endif

#if DECODER_DEBUG
INT_RAMFUNC static void print_sdus(void *context, uint32_t timestamp, uint16_t sdu_seq)
{
	static uint16_t last_sdu;

	if (last_sdu && (last_sdu + 1 < sdu_seq)) {
		LOG_INF("SDU sequence number jumps, last: %u, now: %u", last_sdu, sdu_seq);
	}
	last_sdu = sdu_seq;

	if (0 == (sdu_seq % 128)) {
		LOG_INF("SDU sequence number %u", sdu_seq);
	}
}
#endif

int audio_datapath_create_source(struct audio_datapath_config const *const cfg)
{
	if (cfg == NULL) {
		return -EINVAL;
	}

	if (env.encoder) {
		/* TODO reconfigure encoder? */

		return -EALREADY;
	}

	struct audio_encoder_params const enc_params = {
		.i2s_dev = I2S_SOURCE_DEV,
		.frame_duration_us = cfg->frame_duration_is_10ms ? 10000 : 7500,
		.sampling_rate_hz = cfg->sampling_rate_hz,
		.audio_buffer_len_us = cfg->pres_delay_us,
	};

	/* Remove old one and create a new */
	env.encoder = audio_encoder_create(&enc_params);
	if (env.encoder == NULL) {
		LOG_ERR("Failed to create audio encoder");
		return -ENOMEM;
	}

#if ENCODER_DEBUG
	ret = audio_encoder_register_cb(env.encoder, on_encoder_frame_complete, NULL);
	if (ret) {
		LOG_ERR("Failed to register encoder cb for stats, err %d", ret);
		return ret;
	}
#endif

	LOG_DBG("Source audio datapath created");

	return 0;
}

int audio_datapath_channel_create_source(size_t const octets_per_frame, uint8_t const stream_lid)
{
	int ret = audio_encoder_add_channel(env.encoder, octets_per_frame, stream_lid);

	if (ret) {
		LOG_ERR("Stream %u creation failed. Err %d", stream_lid, ret);
		return ret;
	}
	return 0;
}

int audio_datapath_channel_start_source(uint8_t const stream_lid)
{
	int ret = audio_encoder_start_channel(env.encoder, stream_lid);

	if (ret) {
		LOG_ERR("Stream %u start failed. Err %d", stream_lid, ret);
		return ret;
	}
	return 0;
}

int audio_datapath_channel_stop_source(uint8_t const stream_lid)
{
	int ret = audio_encoder_stop_channel(env.encoder, stream_lid);

	if (ret) {
		LOG_ERR("Stream %u stop failed. Err %d", stream_lid, ret);
		return ret;
	}
	return 0;
}

int audio_datapath_cleanup_source(void)
{
	/* Stop encoder first as it references other modules */
	audio_encoder_delete(env.encoder);
	env.encoder = NULL;

	LOG_DBG("Source audio datapath removed");

	return 0;
}

int audio_datapath_create_sink(struct audio_datapath_config const *const cfg)
{
	if (!cfg) {
		return -EINVAL;
	}

	if (env.decoder) {
		return -EALREADY;
	}

	int ret;
	struct audio_decoder_params const dec_params = {
		.i2s_dev = I2S_SINK_DEV,
		.frame_duration_us = cfg->frame_duration_is_10ms ? 10000 : 7500,
		.sampling_rate_hz = cfg->sampling_rate_hz,
		.pres_delay_us = cfg->pres_delay_us,
	};

	/* clang-format off */

	/* Configure codec */
	struct audio_codec_cfg codec_cfg = {
		.dai_type = AUDIO_DAI_TYPE_I2S,
		.dai_cfg = {
			.i2s = {
				.word_size = AUDIO_PCM_WIDTH_16_BITS,
				.channels = 2,
				.format = I2S_FMT_DATA_FORMAT_I2S,
				.options = 0,
				.frame_clk_freq = cfg->sampling_rate_hz,
				.mem_slab = NULL,
				.block_size = 0,
				.timeout = 0,
			},
		},
	};

	/* clang-format on */

	ret = audio_codec_configure(DEVICE_DT_GET(CODEC_CFG_NODE), &codec_cfg);
	if (ret) {
		LOG_ERR("Failed to configure sink codec. err %d", ret);
		return ret;
	}
	audio_codec_start_output(DEVICE_DT_GET(CODEC_CFG_NODE));

	env.decoder = audio_decoder_create(&dec_params);

	if (!env.decoder) {
		LOG_ERR("Failed to create audio decoder");
		return -ENOMEM;
	}

#if DECODER_DEBUG
	ret = audio_decoder_register_cb(env.decoder, print_sdus, NULL);
	if (ret != 0) {
		LOG_ERR("Failed to register decoder cb, err %d", ret);
		return ret;
	}
#endif

	LOG_DBG("Sink audio datapath created");

	return 0;
}

int audio_datapath_channel_create_sink(size_t const octets_per_frame, uint8_t const stream_lid)
{
	int ret = audio_decoder_add_channel(env.decoder, octets_per_frame, stream_lid);

	if (ret) {
		LOG_ERR("Failed to create stream %u, err %d", stream_lid, ret);
		return ret;
	}

	return 0;
}

int audio_datapath_channel_start_sink(uint8_t const stream_lid)
{
	int ret = audio_decoder_start_channel(env.decoder, stream_lid);

	if (ret) {
		LOG_ERR("Failed to start stream %u, err %d", stream_lid, ret);
		return ret;
	}

	return 0;
}

int audio_datapath_channel_stop_sink(uint8_t const stream_lid)
{
	int ret = audio_decoder_stop_channel(env.decoder, stream_lid);

	if (ret) {
		LOG_ERR("Failed to stop stream %u, err %d", stream_lid, ret);
		return ret;
	}

	return 0;
}

int audio_datapath_channel_volume_sink(uint8_t const volume, bool const mute)
{
	int ret;
	audio_property_value_t property_value;
	const struct device *dev = DEVICE_DT_GET(CODEC_CFG_NODE);

	property_value.vol = volume;
	ret = audio_codec_set_property(dev, AUDIO_PROPERTY_OUTPUT_VOLUME,
				       AUDIO_CHANNEL_ALL, property_value);
	if (ret) {
		LOG_ERR("Failed to set volume, err %d", ret);
		return ret;
	}

	property_value.mute = mute;
	ret = audio_codec_set_property(dev, AUDIO_PROPERTY_OUTPUT_MUTE, AUDIO_CHANNEL_ALL,
				       property_value);
	if (ret) {
		LOG_ERR("Failed to set mute, err %d", ret);
		return ret;
	}

	return 0;
}

int audio_datapath_cleanup_sink(void)
{
	audio_decoder_delete(env.decoder);
	env.decoder = NULL;

	LOG_DBG("Sink audio datapath removed");

	return 0;
}
```

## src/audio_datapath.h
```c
/* Copyright (C) 2025 Alif Semiconductor - All Rights Reserved.
 * Use, distribution and modification of this code is permitted under the
 * terms stated in the Alif Semiconductor Software License Agreement
 *
 * You should have received a copy of the Alif Semiconductor Software
 * License Agreement with this file. If not, please write to:
 * contact@alifsemi.com, or visit: https://alifsemi.com/license
 */

#ifndef _AUDIO_DATAPATH_H
#define _AUDIO_DATAPATH_H

#include <zephyr/types.h>

#define CODEC_CFG_NODE DT_ALIAS(audio_codec)
#define CODEC_I2S_NODE DT_ALIAS(i2s_bus)
#define I2S_MIC_NODE   DT_ALIAS(i2s_mic)

struct audio_datapath_config {
	uint32_t pres_delay_us;
	uint32_t sampling_rate_hz;
	bool frame_duration_is_10ms;
};

/**
 * @brief Create the audio source datapath
 *
 * This creates and configures all of the required elements to stream audio from Bluetooth LE to I2S
 *
 * @param cfg Desired configuration of the audio datapath
 *
 * @retval 0 if successful
 * @retval Negative error code on failure
 */
int audio_datapath_create_source(struct audio_datapath_config const *cfg);

/**
 * @brief Create the audio source datapath channel
 *
 * @param[in] octets_per_frame Number of data per frame
 * @param[in] stream_lid Stream local ID of the channel to be created
 *
 * @retval 0 if successful
 * @retval Negative error code on failure
 */
int audio_datapath_channel_create_source(size_t octets_per_frame, uint8_t stream_lid);

/**
 * @brief Start the audio source datapath
 *
 * Starts transmission of the first SDU over the ISO datapath,
 * which when transmitted starts off the operation of the rest of
 * the datapath.
 *
 * @param[in] stream_lid Stream local ID
 *
 * @retval 0 if successful
 * @retval Negative error code on failure
 */
int audio_datapath_channel_start_source(uint8_t stream_lid);

/**
 * @brief Stop the audio source datapath
 *
 * Stops transmission of the SDUs over the ISO datapath.
 *
 * @param[in] stream_lid Stream local ID
 *
 * @retval 0 if successful
 * @retval Negative error code on failure
 */
int audio_datapath_channel_stop_source(uint8_t stream_lid);

/**
 * @brief Clean up the audio source datapath
 *
 * This stops the audio source datapath and cleans up all elements created by
 * audio_datapath_create_source, freeing any allocated memory if necessary. After calling this
 * function, it is possible to create a new audio source datapath again using
 * audio_datapath_create_source.
 *
 * @retval 0 if successful
 * @retval Negative error code on failure
 */
int audio_datapath_cleanup_source(void);

/**
 * @brief Create the audio sink datapath
 *
 * This creates and configures all of the required elements to stream audio from I2S to Bluetooth LE
 *
 * @param cfg Desired configuration of the audio datapath
 *
 * @retval 0 if successful
 * @retval Negative error code on failure
 */
int audio_datapath_create_sink(struct audio_datapath_config const *cfg);

/**
 * @brief Create the audio sink datapath channel
 *
 * @param[in] octets_per_frame Number of data per frame
 * @param[in] stream_lid Stream local ID of the channel to be created
 *
 * @retval 0 if successful
 * @retval Negative error code on failure
 */
int audio_datapath_channel_create_sink(size_t octets_per_frame, uint8_t stream_lid);

/**
 * @brief Start the audio sink datapath channel
 *
 * Starts transmission of the first SDU over the ISO datapath,
 * which when transmitted starts off the operation of the rest of
 * the datapath.
 *
 * @param[in] stream_lid Stream local ID
 *
 * @retval 0 if successful
 * @retval Negative error code on failure
 */
int audio_datapath_channel_start_sink(uint8_t stream_lid);

/**
 * @brief Stop the audio sink datapath channel
 *
 * Stops transmission of the SDUs over the ISO datapath.
 *
 * @param[in] stream_lid Stream local ID
 *
 * @retval 0 if successful
 * @retval Negative error code on failure
 */
int audio_datapath_channel_stop_sink(uint8_t stream_lid);

/**
 * @brief Set the volume of an audio sink channel
 *
 * @param volume New volume value
 * @param mute New mute state (true or false)
 *
 * @retval 0 if successful
 * @retval Negative error code on failure
 */
int audio_datapath_channel_volume_sink(uint8_t volume, bool mute);

/**
 * @brief Clean up the audio sink datapath
 *
 * This stops the audio sink datapath and cleans up all elements created by
 * audio_datapath_create_sink, freeing any allocated memory if necessary. After calling this
 * function, it is possible to create a new audio sink datapath again using
 * audio_datapath_create_sink.
 *
 * @retval 0 if successful
 * @retval Negative error code on failure
 */
int audio_datapath_cleanup_sink(void);

#endif /* _AUDIO_DATAPATH_H */
```

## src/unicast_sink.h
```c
/* Copyright (C) 2025 Alif Semiconductor - All Rights Reserved.
 * Use, distribution and modification of this code is permitted under the
 * terms stated in the Alif Semiconductor Software License Agreement
 *
 * You should have received a copy of the Alif Semiconductor Software
 * License Agreement with this file. If not, please write to:
 * contact@alifsemi.com, or visit: https://alifsemi.com/license
 */

#ifndef _UNICAST_SINK_H
#define _UNICAST_SINK_H

/**
 * @brief Configure LE audio unicast sink functionality
 *
 * @return 0 on success
 */
int unicast_sink_init(void);

/**
 * @brief Start the LE audio unicast advertising
 *
 * @param p_address Pointer to the client device address for directed advertising
 *
 * @return 0 on success
 */
int unicast_sink_adv_start(void const * const p_address);

/**
 * @brief Stop the advertising
 *
 * @return 0 on success
 */
int unicast_sink_adv_stop(void);

#endif /* _UNICAST_SINK_H */
```
